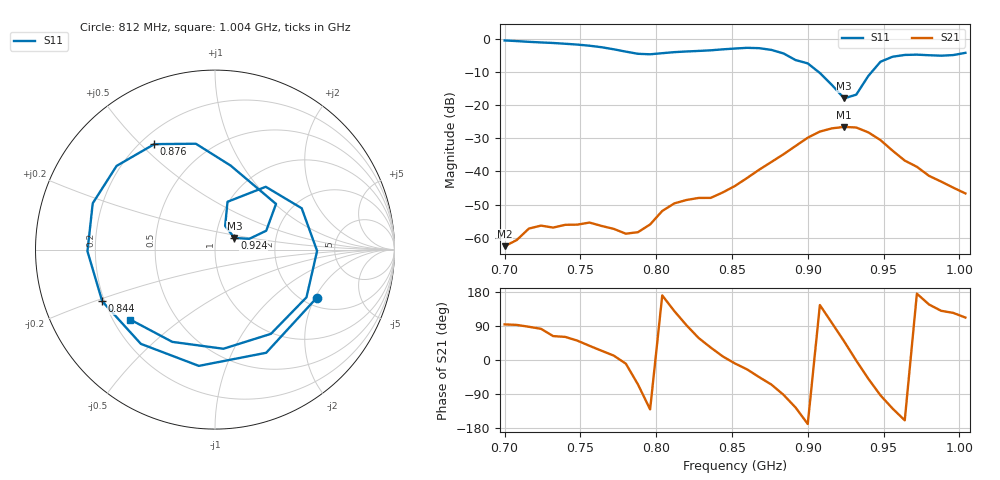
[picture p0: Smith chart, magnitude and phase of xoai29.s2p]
# Hz S RI R 50
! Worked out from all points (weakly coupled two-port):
!   39 points, 700 MHz to 1.004 GHz, reference 50 ohm
!   highest |S21| = -26.59 dB at 924 MHz (marker M1); lowest = -62.5 dB at 700 MHz (marker M2)
!   lowest |S11| = -18.0 dB at 924 MHz (marker M3), VSWR 1.29, Z = 61.6 + j8.11 ohm
!   |S11| at or under -10 dB: 907.1 MHz to 942.2 MHz (35.17 MHz wide, 3.8 % of centre)
!   S12 and S22 are empty: the file has one direction only
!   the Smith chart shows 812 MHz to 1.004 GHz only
!   S11 on the Smith chart (normalised r, x): 812 MHz: 2.33, -2.07; 844 MHz: 0.19, -0.21; 876 MHz: 0.25, +0.55; 924 MHz: 1.23, +0.16; 1.004 GHz: 0.27, -0.34
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7e8  0.7597 0.5547  -5.15e-05 0.000745  0 0  0 0
7.24e8  0.8418 -0.2485  0.000204 0.00151  0 0  0 0
7.4e8  0.4599 -0.7012  0.000761 0.00137  0 0  0 0
7.56e8  -0.1892 -0.7607  0.00135 0.00103  0 0  0 0
7.72e8  -0.6614 -0.2042  0.00133 0.000273  0 0  0 0
7.8e8  -0.5988 0.2207  0.00113 -0.000195  0 0  0 0
7.88e8  -0.2548 0.5343  0.00052 -0.0011  0 0  0 0
7.96e8  0.2336 0.5333  -0.00103 -0.00121  0 0  0 0
8.04e8  0.5732 0.1931  -0.0025 0.00042  0 0  0 0
8.12e8  0.5666 -0.2686  -0.00207 0.00257  0 0  0 0
8.28e8  -0.0902 -0.6478  0.0021 0.00338  0 0  0 0
8.44e8  -0.6283 -0.2881  0.00477 0.000779  0 0  0 0
8.52e8  -0.7107 -0.0091  0.00596 -0.00096  0 0  0 0
8.76e8  -0.3382 0.5876  0.00591 -0.0125  0 0  0 0
9e8  0.34 0.2545  -0.0316 -0.00624  0 0  0 0
9.08e8  0.2855 0.1052  -0.0327 0.0228  0 0  0 0
9.24e8  0.1083 0.0648  0.0306 0.0355  0 0  0 0
9.4e8  0.0698 0.2665  0.025 -0.0295  0 0  0 0
9.56e8  0.4831 0.2303  -0.0127 -0.0161  0 0  0 0
9.64e8  0.5688 -0.00721  -0.0136 -0.00517  0 0  0 0
9.8e8  0.3113 -0.4695  -0.00715 0.00474  0 0  0 0
1.004e9  -0.4728 -0.3895  -0.00174 0.00432  0 0  0 0
